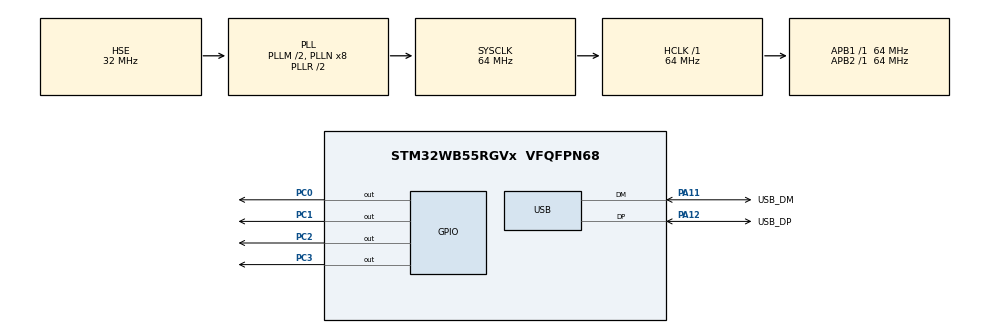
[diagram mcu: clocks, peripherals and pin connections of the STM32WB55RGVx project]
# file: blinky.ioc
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Mcu.Family=STM32WB
Mcu.Name=STM32WB55RGVx
Mcu.Package=VFQFPN68
NVIC.PriorityGroup=NVIC_PRIORITYGROUP_4
NVIC.USB_LP_IRQn=true\:0\:0\:false\:false\:true\:false\:true\:true
OSC_IN.GPIO_Label=RCC_OSC_IN
OSC_IN.Mode=HSE-External-Oscillator
OSC_IN.Signal=RCC_OSC_IN
OSC_OUT.GPIO_Label=RCC_OSC_OUT
OSC_OUT.Mode=HSE-External-Oscillator
OSC_OUT.Signal=RCC_OSC_OUT
P-NUCLEO-WB55-NUCLEO.BUTTON=1
P-NUCLEO-WB55-NUCLEO.BUTTON2=1
P-NUCLEO-WB55-NUCLEO.BUTTON3=1
P-NUCLEO-WB55-NUCLEO.LD1=true
P-NUCLEO-WB55-NUCLEO.LD2=true
P-NUCLEO-WB55-NUCLEO.LD3=true
P-NUCLEO-WB55-NUCLEO.VCP=true
PA11.GPIO_Label=USB_DM
PA11.Mode=Device
PA11.Signal=USB_DM
PA12.GPIO_Label=USB_DP
PA12.Mode=Device
PA12.Signal=USB_DP
PB3.GPIO_Label=JTDO
PB3.Signal=SYS_JTDO-SWO
PB6.Signal=USART1_TX
PB7.Signal=USART1_RX
PC0.Signal=GPIO_Output
PC1.Signal=GPIO_Output
PC13.GPIO_Label=SYS_WKUP2
PC13.Signal=SYS_WKUP2
PC14-OSC32_IN.GPIO_Label=RCC_OSC32_IN
PC14-OSC32_IN.Signal=RCC_OSC32_IN
PC15-OSC32_OUT.GPIO_Label=RCC_OSC32_OUT
PC15-OSC32_OUT.Signal=RCC_OSC32_OUT
PC2.Signal=GPIO_Output
PC3.Signal=GPIO_Output
ProjectManager.HeapSize=0x200
ProjectManager.StackSize=0x400
ProjectManager.TargetToolchain=STM32CubeIDE
RCC.ADCFreq_Value=192000000
RCC.AHB2CLKDivider=RCC_SYSCLK_DIV2
RCC.AHBFreq_Value=64000000
RCC.APB1Freq_Value=64000000
RCC.APB1TimFreq_Value=64000000
RCC.APB2Freq_Value=64000000
RCC.APB2TimFreq_Value=64000000
RCC.APB3Freq_Value=16000000
RCC.CK48CLockSelection=RCC_USBCLKSOURCE_HSI48
RCC.Cortex2_Div=SYSTICK_CLKSOURCE_HCLK_DIV8
RCC.CortexFreq_Value=64000000
RCC.HCLKFreq_Value=64000000
RCC.HSE_VALUE=32000000
RCC.HSI48_VALUE=48000000
RCC.HSI_VALUE=16000000
RCC.LSE_VALUE=32768
RCC.PLLM=RCC_PLLM_DIV2
RCC.PLLSAI1N=24
RCC.PLLSourceVirtual=RCC_PLLSOURCE_HSE
RCC.SMPSCLockSelectionVirtual=RCC_SMPSCLKSOURCE_HSI
RCC.SMPSCLockSelectionVirtualVirtual=RCC_SMPSCLKSOURCE_HSI
RCC.SMPSDivider=1
RCC.SYSCLKFreq_VALUE=64000000
RCC.SYSCLKSource=RCC_SYSCLKSOURCE_PLLCLK
RCC.USBFreq_Value=48000000
RCC.VCOOutputFreq_Value=128000000
USB_DEVICE.CLASS_NAME_FS=CDC
USB_DEVICE.VirtualMode=Cdc
USB_DEVICE.VirtualModeFS=Cdc_FS
VP_MEMORYMAP_VS_MEMORYMAP.Mode=CurAppReg
VP_P-NUCLEO-WB55-NUCLEO_VS_BSP_COMMON.Mode=COMMON
VP_USB_DEVICE_VS_USB_DEVICE_CDC_FS.Mode=CDC_FS
board=P-NUCLEO-WB55-NUCLEO

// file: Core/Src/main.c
/* USER CODE BEGIN Header */
/**
  ******************************************************************************
  * @file           : main.c
  * @brief          : Main program body
  ******************************************************************************
  * @attention
  *
  * Copyright (c) 2025 STMicroelectronics.
  * All rights reserved.
  *
  * This software is licensed under terms that can be found in the LICENSE file
  * in the root directory of this software component.
  * If no LICENSE file comes with this software, it is provided AS-IS.
  *
  ******************************************************************************
  */
/* USER CODE END Header */
#include "main.h"
#include "usb_device.h"

/* USER CODE BEGIN Includes */

#include "usbd_cdc_if.h"
#include <stdbool.h>
#include <stdio.h>

/* USER CODE END Includes */

COM_InitTypeDef BspCOMInit;

/* USER CODE BEGIN PV */

static int8_t cur_motor_step = 8;

/* USER CODE END PV */

void SystemClock_Config(void);
void PeriphCommonClock_Config(void);
static void MX_GPIO_Init(void);

/* USER CODE BEGIN 0 */

static void Motor_Step(bool reverse) {
	switch (cur_motor_step) {
	case 0:
		  HAL_GPIO_WritePin(GPIOC, GPIO_PIN_0|GPIO_PIN_1|GPIO_PIN_2, GPIO_PIN_RESET);
		  HAL_GPIO_WritePin(GPIOC, GPIO_PIN_3, GPIO_PIN_SET);
		break;
	case 1:
		  HAL_GPIO_WritePin(GPIOC, GPIO_PIN_0|GPIO_PIN_1, GPIO_PIN_RESET);
		  HAL_GPIO_WritePin(GPIOC, GPIO_PIN_2|GPIO_PIN_3, GPIO_PIN_SET);
		break;
	case 2:
		  HAL_GPIO_WritePin(GPIOC, GPIO_PIN_0|GPIO_PIN_1|GPIO_PIN_3, GPIO_PIN_RESET);
		  HAL_GPIO_WritePin(GPIOC, GPIO_PIN_2, GPIO_PIN_SET);
		break;
	case 3:
		  HAL_GPIO_WritePin(GPIOC, GPIO_PIN_1|GPIO_PIN_2, GPIO_PIN_RESET);
		  HAL_GPIO_WritePin(GPIOC, GPIO_PIN_0|GPIO_PIN_3, GPIO_PIN_SET);
		break;
	case 4:
		  HAL_GPIO_WritePin(GPIOC, GPIO_PIN_0|GPIO_PIN_2|GPIO_PIN_3, GPIO_PIN_RESET);
		  HAL_GPIO_WritePin(GPIOC, GPIO_PIN_1, GPIO_PIN_SET);
		break;
	case 5:
		  HAL_GPIO_WritePin(GPIOC, GPIO_PIN_2|GPIO_PIN_3, GPIO_PIN_RESET);
		  HAL_GPIO_WritePin(GPIOC, GPIO_PIN_0|GPIO_PIN_1, GPIO_PIN_SET);
		break;
	case 6:
		  HAL_GPIO_WritePin(GPIOC, GPIO_PIN_1|GPIO_PIN_2|GPIO_PIN_3, GPIO_PIN_RESET);
		  HAL_GPIO_WritePin(GPIOC, GPIO_PIN_0, GPIO_PIN_SET);
		break;
	case 7:
		  HAL_GPIO_WritePin(GPIOC, GPIO_PIN_1|GPIO_PIN_2, GPIO_PIN_RESET);
		  HAL_GPIO_WritePin(GPIOC, GPIO_PIN_0|GPIO_PIN_3, GPIO_PIN_SET);
		break;
	}

	if (reverse) {
		cur_motor_step--;
	} else {
		cur_motor_step++;
	}

	if (cur_motor_step > 7) cur_motor_step = 0;

	if (cur_motor_step < 0) cur_motor_step = 7;
}

void USB_CDC_RxHandler(uint8_t * Buf, uint32_t Len) {
	const char * feedback = "got %s dupa\r\n";
	const uint32_t size = sizeof(feedback) + Len + 1;
	char * feedback_bfr = malloc(size);
	snprintf(feedback_bfr, size, feedback, Buf);

	CDC_Transmit_FS((uint8_t*)feedback_bfr, size);
	free(feedback_bfr);
}

/* USER CODE END 0 */

int main(void)
{

  /* MCU Configuration--------------------------------------------------------*/

  /* Reset of all peripherals, Initializes the Flash interface and the Systick. */
  HAL_Init();

  /* Configure the system clock */
  SystemClock_Config();

  /* Configure the peripherals common clocks */
  PeriphCommonClock_Config();

  /* Initialize all configured peripherals */
  MX_GPIO_Init();
  MX_USB_Device_Init();

  /* Initialize leds */
  BSP_LED_Init(LED_BLUE);
  BSP_LED_Init(LED_GREEN);
  BSP_LED_Init(LED_RED);

  /* Initialize USER push-button, will be used to trigger an interrupt each time it's pressed.*/
  BSP_PB_Init(BUTTON_SW1, BUTTON_MODE_EXTI);
  BSP_PB_Init(BUTTON_SW2, BUTTON_MODE_EXTI);
  BSP_PB_Init(BUTTON_SW3, BUTTON_MODE_EXTI);

  /* Initialize COM1 port (115200, 8 bits (7-bit data + 1 stop bit), no parity */
  BspCOMInit.BaudRate   = 115200;
  BspCOMInit.WordLength = COM_WORDLENGTH_8B;
  BspCOMInit.StopBits   = COM_STOPBITS_1;
  BspCOMInit.Parity     = COM_PARITY_NONE;
  BspCOMInit.HwFlowCtl  = COM_HWCONTROL_NONE;
  if (BSP_COM_Init(COM1, &BspCOMInit) != BSP_ERROR_NONE)
  {
    Error_Handler();
  }

  /* Infinite loop */
  /* USER CODE BEGIN WHILE */
  while (1)
  {
	  HAL_GPIO_TogglePin(GPIOB, 5);
	  HAL_Delay(1000);
	  Motor_Step(false);

	  /*
	  uint8_t TxBuffer[] = "dupa\r\n";

	  CDC_Transmit_FS(TxBuffer, sizeof(TxBuffer));
	  */
    /* USER CODE END WHILE */

  }
}

void SystemClock_Config(void)
{
  RCC_OscInitTypeDef RCC_OscInitStruct = {0};
  RCC_ClkInitTypeDef RCC_ClkInitStruct = {0};

  /** Configure the main internal regulator output voltage
  */
  __HAL_PWR_VOLTAGESCALING_CONFIG(PWR_REGULATOR_VOLTAGE_SCALE1);

  /** Initializes the RCC Oscillators according to the specified parameters
  * in the RCC_OscInitTypeDef structure.
  */
  RCC_OscInitStruct.OscillatorType = RCC_OSCILLATORTYPE_HSI48|RCC_OSCILLATORTYPE_HSI
                              |RCC_OSCILLATORTYPE_HSE;
  RCC_OscInitStruct.HSEState = RCC_HSE_ON;
  RCC_OscInitStruct.HSIState = RCC_HSI_ON;
  RCC_OscInitStruct.HSI48State = RCC_HSI48_ON;
  RCC_OscInitStruct.HSICalibrationValue = RCC_HSICALIBRATION_DEFAULT;
  RCC_OscInitStruct.PLL.PLLState = RCC_PLL_ON;
  RCC_OscInitStruct.PLL.PLLSource = RCC_PLLSOURCE_HSE;
  RCC_OscInitStruct.PLL.PLLM = RCC_PLLM_DIV2;
  RCC_OscInitStruct.PLL.PLLN = 8;
  RCC_OscInitStruct.PLL.PLLP = RCC_PLLP_DIV2;
  RCC_OscInitStruct.PLL.PLLR = RCC_PLLR_DIV2;
  RCC_OscInitStruct.PLL.PLLQ = RCC_PLLQ_DIV2;
  if (HAL_RCC_OscConfig(&RCC_OscInitStruct) != HAL_OK)
  {
    Error_Handler();
  }

  /** Configure the SYSCLKSource, HCLK, PCLK1 and PCLK2 clocks dividers
  */
  RCC_ClkInitStruct.ClockType = RCC_CLOCKTYPE_HCLK4|RCC_CLOCKTYPE_HCLK2
                              |RCC_CLOCKTYPE_HCLK|RCC_CLOCKTYPE_SYSCLK
                              |RCC_CLOCKTYPE_PCLK1|RCC_CLOCKTYPE_PCLK2;
  RCC_ClkInitStruct.SYSCLKSource = RCC_SYSCLKSOURCE_PLLCLK;
  RCC_ClkInitStruct.AHBCLKDivider = RCC_SYSCLK_DIV1;
  RCC_ClkInitStruct.APB1CLKDivider = RCC_HCLK_DIV1;
  RCC_ClkInitStruct.APB2CLKDivider = RCC_HCLK_DIV1;
  RCC_ClkInitStruct.AHBCLK2Divider = RCC_SYSCLK_DIV2;
  RCC_ClkInitStruct.AHBCLK4Divider = RCC_SYSCLK_DIV1;

  if (HAL_RCC_ClockConfig(&RCC_ClkInitStruct, FLASH_LATENCY_3) != HAL_OK)
  {
    Error_Handler();
  }
}

void PeriphCommonClock_Config(void)
{
  RCC_PeriphCLKInitTypeDef PeriphClkInitStruct = {0};

  /** Initializes the peripherals clock
  */
  PeriphClkInitStruct.PeriphClockSelection = RCC_PERIPHCLK_SMPS;
  PeriphClkInitStruct.SmpsClockSelection = RCC_SMPSCLKSOURCE_HSI;
  PeriphClkInitStruct.SmpsDivSelection = RCC_SMPSCLKDIV_RANGE0;

  if (HAL_RCCEx_PeriphCLKConfig(&PeriphClkInitStruct) != HAL_OK)
  {
    Error_Handler();
  }
}

static void MX_GPIO_Init(void)
{
  GPIO_InitTypeDef GPIO_InitStruct = {0};

  /* GPIO Ports Clock Enable */
  __HAL_RCC_GPIOC_CLK_ENABLE();
  __HAL_RCC_GPIOA_CLK_ENABLE();
  __HAL_RCC_GPIOB_CLK_ENABLE();

  /*Configure GPIO pin Output Level */
  HAL_GPIO_WritePin(GPIOC, GPIO_PIN_0|GPIO_PIN_1|GPIO_PIN_2|GPIO_PIN_3, GPIO_PIN_RESET);

  /*Configure GPIO pins : PC0 PC1 PC2 PC3 */
  GPIO_InitStruct.Pin = GPIO_PIN_0|GPIO_PIN_1|GPIO_PIN_2|GPIO_PIN_3;
  GPIO_InitStruct.Mode = GPIO_MODE_OUTPUT_PP;
  GPIO_InitStruct.Pull = GPIO_NOPULL;
  GPIO_InitStruct.Speed = GPIO_SPEED_FREQ_LOW;
  HAL_GPIO_Init(GPIOC, &GPIO_InitStruct);

}

void Error_Handler(void)
{
  __disable_irq();
  while (1)
  {
  }
}
